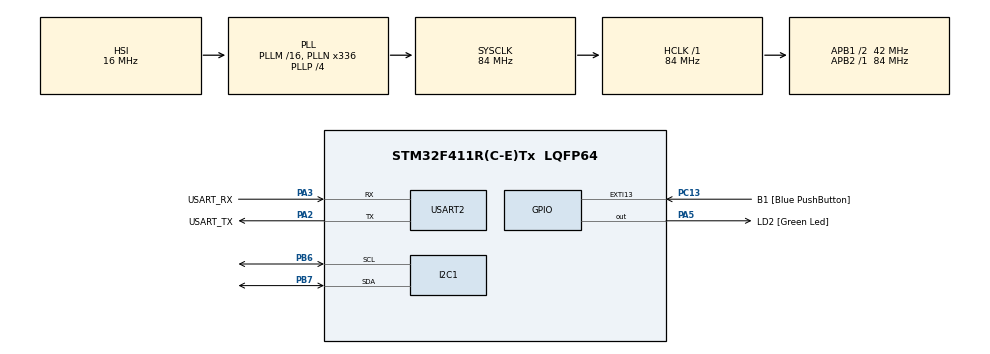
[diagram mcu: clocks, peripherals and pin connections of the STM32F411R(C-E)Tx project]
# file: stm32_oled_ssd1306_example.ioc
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I2C1.I2C_Mode=I2C_Fast
Mcu.Family=STM32F4
Mcu.Name=STM32F411R(C-E)Tx
Mcu.Package=LQFP64
NVIC.PriorityGroup=NVIC_PRIORITYGROUP_0
PA13.GPIO_Label=TMS
PA13.Mode=Serial_Wire
PA13.Signal=SYS_JTMS-SWDIO
PA14.GPIO_Label=TCK
PA14.Mode=Serial_Wire
PA14.Signal=SYS_JTCK-SWCLK
PA2.GPIO_Label=USART_TX
PA2.Mode=Asynchronous
PA2.Signal=USART2_TX
PA3.GPIO_Label=USART_RX
PA3.Mode=Asynchronous
PA3.Signal=USART2_RX
PA5.GPIO_Label=LD2 [Green Led]
PA5.Signal=GPIO_Output
PB3.GPIO_Label=SWO
PB3.Signal=SYS_JTDO-SWO
PB6.Mode=I2C
PB6.Signal=I2C1_SCL
PB7.Mode=I2C
PB7.Signal=I2C1_SDA
PC13-ANTI_TAMP.GPIO_Label=B1 [Blue PushButton]
PC13-ANTI_TAMP.GPIO_ModeDefaultEXTI=GPIO_MODE_IT_FALLING
PC13-ANTI_TAMP.Signal=GPXTI13
PC14-OSC32_IN.Mode=LSE-External-Oscillator
PC14-OSC32_IN.Signal=RCC_OSC32_IN
PC15-OSC32_OUT.Mode=LSE-External-Oscillator
PC15-OSC32_OUT.Signal=RCC_OSC32_OUT
PH0\ -\ OSC_IN.Mode=HSE-External-Clock-Source
PH0\ -\ OSC_IN.Signal=RCC_OSC_IN
PH1\ -\ OSC_OUT.Mode=HSE-External-Clock-Source
PH1\ -\ OSC_OUT.Signal=RCC_OSC_OUT
ProjectManager.HeapSize=0x200
ProjectManager.StackSize=0x400
ProjectManager.TargetToolchain=STM32CubeIDE
RCC.48MHZClocksFreq_Value=84000000
RCC.AHBFreq_Value=84000000
RCC.APB1CLKDivider=RCC_HCLK_DIV2
RCC.APB1Freq_Value=42000000
RCC.APB1TimFreq_Value=84000000
RCC.APB2Freq_Value=84000000
RCC.APB2TimFreq_Value=84000000
RCC.CortexFreq_Value=84000000
RCC.FLatency-AdvancedSettings=FLASH_LATENCY_2
RCC.HCLKFreq_Value=84000000
RCC.HSE_VALUE=8000000
RCC.HSI_VALUE=16000000
RCC.PLLN=336
RCC.PLLP=RCC_PLLP_DIV4
RCC.SYSCLKFreq_VALUE=84000000
RCC.SYSCLKSource=RCC_SYSCLKSOURCE_PLLCLK
RCC.VCOOutputFreq_Value=336000000
USART2.VirtualMode=VM_ASYNC
board=NUCLEO-F411RE

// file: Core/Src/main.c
/* USER CODE BEGIN Header */
/**
  ******************************************************************************
  * @file           : main.c
  * @brief          : Main program body
  ******************************************************************************
  * @attention
  *
  * <h2><center>&copy; Copyright (c) 2020 STMicroelectronics.
  * All rights reserved.</center></h2>
  *
  * This software component is licensed by ST under BSD 3-Clause license,
  * the "License"; You may not use this file except in compliance with the
  * License. You may obtain a copy of the License at:
  *                        opensource.org/licenses/BSD-3-Clause
  *
  ******************************************************************************
  */
/* USER CODE END Header */
#include "main.h"

/* USER CODE BEGIN Includes */
#include "./ssd1306_lib.h"
/* USER CODE END Includes */

I2C_HandleTypeDef hi2c1;

UART_HandleTypeDef huart2;

void SystemClock_Config(void);
static void MX_GPIO_Init(void);
static void MX_USART2_UART_Init(void);
static void MX_I2C1_Init(void);

int main(void)
{

  /* MCU Configuration--------------------------------------------------------*/

  /* Reset of all peripherals, Initializes the Flash interface and the Systick. */
  HAL_Init();

  /* Configure the system clock */
  SystemClock_Config();

  /* Initialize all configured peripherals */
  MX_GPIO_Init();
  MX_USART2_UART_Init();
  MX_I2C1_Init();

  /* USER CODE BEGIN 2 */
  ssd1306_init_display(&hi2c1, 0x78);
  ssd1306_set_contrast(0x01);

  srand(time(0));

  // for sarfild
  struct{
	  uint8_t x;
	  uint8_t y;
  }typedef point;

  #define STAR_COUNT 40

  point s1[STAR_COUNT];
  point s2[STAR_COUNT];
  point s3[STAR_COUNT];

  for(int i=0; i<STAR_COUNT; i++)
  {
	  s1[i].x = rand()%DISPLAY_WIDTH;
	  s1[i].y = rand()%DISPLAY_HEIGTH;

	  s2[i].x = rand()%DISPLAY_WIDTH;
	  s2[i].y = rand()%DISPLAY_HEIGTH;

	  s3[i].x = rand()%DISPLAY_WIDTH;
	  s3[i].y = rand()%DISPLAY_HEIGTH;
  }

  /* USER CODE END 2 */

  /* Infinite loop */
  while (1)
  {

    /* USER CODE BEGIN 3 */
	  ssd1306_clear_buffer();
	  for(int i=0; i<STAR_COUNT; i++)
	  {
		  ssd1306_set_pixel_to_buffer(s1[i].x, s1[i].y);
		  ssd1306_set_pixel_to_buffer(s2[i].x, s2[i].y);
		  ssd1306_set_pixel_to_buffer(s3[i].x, s3[i].y);

		  s1[i].x++;
		  if(s1[i].x >= DISPLAY_WIDTH) s1[i].x = 0;

		  s2[i].x += 2;
		  if(s2[i].x >= DISPLAY_WIDTH) s2[i].x -= DISPLAY_WIDTH;

		  s3[i].x += 3;
		  if(s3[i].x >= DISPLAY_WIDTH) s3[i].x -= DISPLAY_WIDTH;
	  }
	  ssd1306_transfer_buffer();
  }
  /* USER CODE END 3 */
}

void SystemClock_Config(void)
{
  RCC_OscInitTypeDef RCC_OscInitStruct = {0};
  RCC_ClkInitTypeDef RCC_ClkInitStruct = {0};

  /** Configure the main internal regulator output voltage
  */
  __HAL_RCC_PWR_CLK_ENABLE();
  __HAL_PWR_VOLTAGESCALING_CONFIG(PWR_REGULATOR_VOLTAGE_SCALE1);
  /** Initializes the RCC Oscillators according to the specified parameters
  * in the RCC_OscInitTypeDef structure.
  */
  RCC_OscInitStruct.OscillatorType = RCC_OSCILLATORTYPE_HSI;
  RCC_OscInitStruct.HSIState = RCC_HSI_ON;
  RCC_OscInitStruct.HSICalibrationValue = RCC_HSICALIBRATION_DEFAULT;
  RCC_OscInitStruct.PLL.PLLState = RCC_PLL_ON;
  RCC_OscInitStruct.PLL.PLLSource = RCC_PLLSOURCE_HSI;
  RCC_OscInitStruct.PLL.PLLM = 16;
  RCC_OscInitStruct.PLL.PLLN = 336;
  RCC_OscInitStruct.PLL.PLLP = RCC_PLLP_DIV4;
  RCC_OscInitStruct.PLL.PLLQ = 4;
  if (HAL_RCC_OscConfig(&RCC_OscInitStruct) != HAL_OK)
  {
    Error_Handler();
  }
  /** Initializes the CPU, AHB and APB buses clocks
  */
  RCC_ClkInitStruct.ClockType = RCC_CLOCKTYPE_HCLK|RCC_CLOCKTYPE_SYSCLK
                              |RCC_CLOCKTYPE_PCLK1|RCC_CLOCKTYPE_PCLK2;
  RCC_ClkInitStruct.SYSCLKSource = RCC_SYSCLKSOURCE_PLLCLK;
  RCC_ClkInitStruct.AHBCLKDivider = RCC_SYSCLK_DIV1;
  RCC_ClkInitStruct.APB1CLKDivider = RCC_HCLK_DIV2;
  RCC_ClkInitStruct.APB2CLKDivider = RCC_HCLK_DIV1;

  if (HAL_RCC_ClockConfig(&RCC_ClkInitStruct, FLASH_LATENCY_2) != HAL_OK)
  {
    Error_Handler();
  }
}

static void MX_I2C1_Init(void)
{

  hi2c1.Instance = I2C1;
  hi2c1.Init.ClockSpeed = 400000;
  hi2c1.Init.DutyCycle = I2C_DUTYCYCLE_2;
  hi2c1.Init.OwnAddress1 = 0;
  hi2c1.Init.AddressingMode = I2C_ADDRESSINGMODE_7BIT;
  hi2c1.Init.DualAddressMode = I2C_DUALADDRESS_DISABLE;
  hi2c1.Init.OwnAddress2 = 0;
  hi2c1.Init.GeneralCallMode = I2C_GENERALCALL_DISABLE;
  hi2c1.Init.NoStretchMode = I2C_NOSTRETCH_DISABLE;
  if (HAL_I2C_Init(&hi2c1) != HAL_OK)
  {
    Error_Handler();
  }

}

static void MX_USART2_UART_Init(void)
{

  huart2.Instance = USART2;
  huart2.Init.BaudRate = 115200;
  huart2.Init.WordLength = UART_WORDLENGTH_8B;
  huart2.Init.StopBits = UART_STOPBITS_1;
  huart2.Init.Parity = UART_PARITY_NONE;
  huart2.Init.Mode = UART_MODE_TX_RX;
  huart2.Init.HwFlowCtl = UART_HWCONTROL_NONE;
  huart2.Init.OverSampling = UART_OVERSAMPLING_16;
  if (HAL_UART_Init(&huart2) != HAL_OK)
  {
    Error_Handler();
  }

}

static void MX_GPIO_Init(void)
{
  GPIO_InitTypeDef GPIO_InitStruct = {0};

  /* GPIO Ports Clock Enable */
  __HAL_RCC_GPIOC_CLK_ENABLE();
  __HAL_RCC_GPIOH_CLK_ENABLE();
  __HAL_RCC_GPIOA_CLK_ENABLE();
  __HAL_RCC_GPIOB_CLK_ENABLE();

  /*Configure GPIO pin Output Level */
  HAL_GPIO_WritePin(LD2_GPIO_Port, LD2_Pin, GPIO_PIN_RESET);

  /*Configure GPIO pin : B1_Pin */
  GPIO_InitStruct.Pin = B1_Pin;
  GPIO_InitStruct.Mode = GPIO_MODE_IT_FALLING;
  GPIO_InitStruct.Pull = GPIO_NOPULL;
  HAL_GPIO_Init(B1_GPIO_Port, &GPIO_InitStruct);

  /*Configure GPIO pin : LD2_Pin */
  GPIO_InitStruct.Pin = LD2_Pin;
  GPIO_InitStruct.Mode = GPIO_MODE_OUTPUT_PP;
  GPIO_InitStruct.Pull = GPIO_NOPULL;
  GPIO_InitStruct.Speed = GPIO_SPEED_FREQ_LOW;
  HAL_GPIO_Init(LD2_GPIO_Port, &GPIO_InitStruct);

}

void Error_Handler(void)
{
  __disable_irq();
  while (1)
  {
  }
}

/************************ (C) COPYRIGHT STMicroelectronics *****END OF FILE****/
